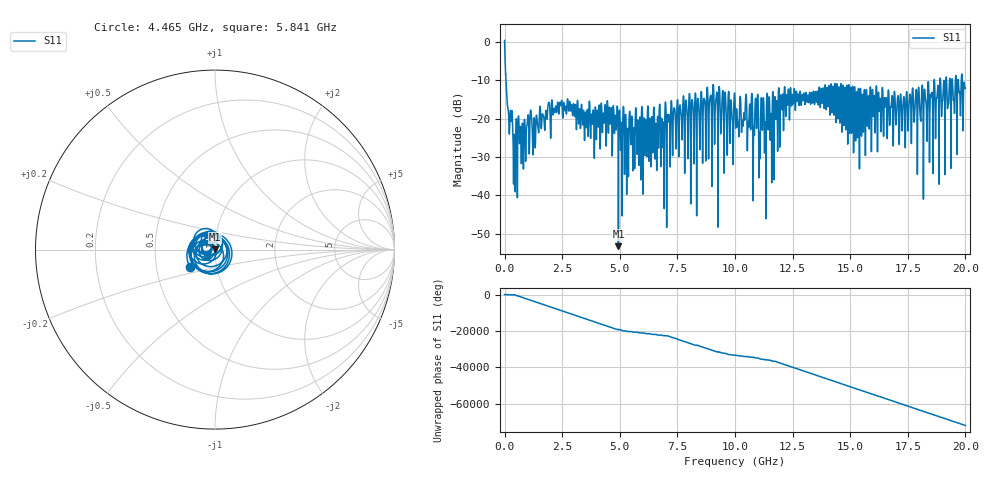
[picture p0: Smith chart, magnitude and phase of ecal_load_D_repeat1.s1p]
! MS46122B
! 2250307/22442219
! 7/24/2025 12:43:18 PM
! C:\USERS\SPARKY\DOCUMENTS\VNA_DATA\JULY24_2025\295K\ECAL_LOAD_D_REPEAT1.S1P
! CHANNEL.1
! TR.MEASUREMENT
! RAW.DATA
# GHZ S RI R 50.0
! FREQ.GHZ  S11RE  S11IM
!; PortSelection: Port_1
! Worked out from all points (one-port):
!   10001 points, 1 MHz to 20 GHz, reference 50 ohm
!   lowest |S11| = -53.2 dB at 4.941 GHz (marker M1), VSWR 1.00, Z = 49.8 + j0.132 ohm
!   |S11| at or under -10 dB: 59.83 MHz to 18.64 GHz (18.58 GHz wide, 199 % of centre); 18.66 GHz to 18.9 GHz (239.3 MHz wide, 1.27 % of centre); 18.92 GHz to 19.15 GHz (229.2 MHz wide, 1.2 % of centre) (the widest 3 of 9)
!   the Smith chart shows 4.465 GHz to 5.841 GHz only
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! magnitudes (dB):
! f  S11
! 1 MHz  0.4
! 145 MHz  -17.2
! 469 MHz  -34.0
! 585 MHz  -20.8
! 821 MHz  -32.3
! 1.079 GHz  -27.5
! 1.273 GHz  -20.1
! 2.501 GHz  -17.0
! 4.539 GHz  -17.5
! 4.941 GHz  -53.2
! 5.001 GHz  -18.7
! 5.293 GHz  -33.2
! 5.445 GHz  -19.2
! 6.731 GHz  -16.2
! 6.855 GHz  -27.4
! 7.307 GHz  -23.5
! 7.501 GHz  -15.1
! 9.127 GHz  -21.7
! 9.185 GHz  -14.2
! 10 GHz  -14.9
! 10.67 GHz  -20.3
! 10.86 GHz  -19.9
! 10.92 GHz  -19.6
! 11.27 GHz  -21.8
! 12.5 GHz  -13.9
! 15 GHz  -14.3
! 17.5 GHz  -20.7
! 20 GHz  -12.0
